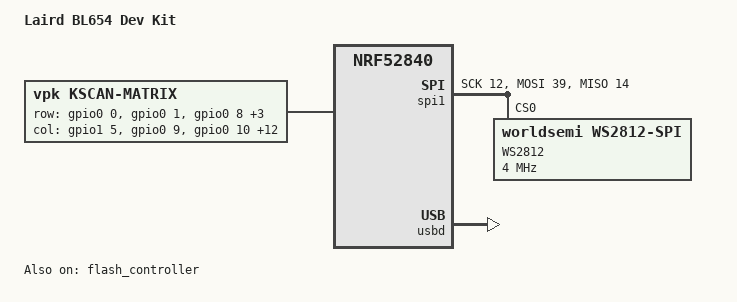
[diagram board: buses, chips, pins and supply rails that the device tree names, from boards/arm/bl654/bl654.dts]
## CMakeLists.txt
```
cmake_minimum_required(VERSION 3.20.0)

list(APPEND BOARD_ROOT ${CMAKE_SOURCE_DIR})
list(APPEND DTS_ROOT ${CMAKE_SOURCE_DIR}/drivers/zephyr)
list(APPEND ZEPHYR_EXTRA_MODULES ${CMAKE_CURRENT_SOURCE_DIR}/drivers)

find_package(Zephyr REQUIRED HINTS $ENV{ZEPHYR_BASE})
project(vpk)

SET(CMAKE_CXX_FLAGS  "${CMAKE_CXX_FLAGS} -fno-threadsafe-statics")
# FILE(GLOB app_sources src/*.cpp)
# target_sources(app PRIVATE ${app_sources})
target_sources(app PRIVATE src/main.cpp src/keyboard.cpp src/usb_hid.cpp src/led.cpp src/bat.cpp src/bluetooth/bluetooth.cpp src/bluetooth/hog.cpp)
```

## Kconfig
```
#
# Copyright (c) 2018 Nordic Semiconductor
#
# SPDX-License-Identifier: LicenseRef-Nordic-5-Clause
#

source "Kconfig.zephyr"

menu "Vampunzels Keyboard"

rsource "drivers/Kconfig"

endmenu
```

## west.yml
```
manifest:
  remotes:
    - name: zephyrproject-rtos
      url-base: https://github.com/zephyrproject-rtos
  projects:
    - name: zephyr
      remote: zephyrproject-rtos
      revision: v3.1.0
      import: true
  self:
    path: keyboard
```

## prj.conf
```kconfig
# Misc
CONFIG_CPLUSPLUS=y
CONFIG_STD_CPP17=y
CONFIG_NEWLIB_LIBC=y
CONFIG_LIB_CPLUSPLUS=y

CONFIG_GPIO=y
CONFIG_REBOOT=y

# Logging
CONFIG_LOG=y
#CONFIG_SERIAL=y
#CONFIG_UART_LINE_CTRL=y
#CONFIG_USB_CDC_ACM=y
#CONFIG_USB_CDC_ACM_LOG_LEVEL_ERR=y
#CONFIG_LOG_PROCESS_THREAD_STARTUP_DELAY_MS=1000
#CONFIG_CONSOLE=y
#CONFIG_UART_CONSOLE=y
CONFIG_USB_DRIVER_LOG_LEVEL_ERR=y
CONFIG_USB_DEVICE_LOG_LEVEL_ERR=y

# CONFIG_SIZE_OPTIMIZATIONS=y

# Keyboard Matrix Driver
CONFIG_KSCAN=y
CONFIG_VPK_KSCAN_MATRIX=y
CONFIG_VPK_KSCAN_MATRIX_PERIOD_US=500
CONFIG_VPK_KSCAN_MATRIX_DEBOUNCE_US=5000

# Enable Flash and NVS-settings
CONFIG_FLASH=y
CONFIG_FLASH_PAGE_LAYOUT=y
CONFIG_FLASH_MAP=y
CONFIG_NVS=y
CONFIG_SETTINGS=y

# Generic USB
CONFIG_USB_DEVICE_STACK=y
CONFIG_USB_DEVICE_PRODUCT="Vampunzels Keyboard"
CONFIG_USB_DEVICE_VID=0xFFFF
CONFIG_USB_DEVICE_PID=0x0001
CONFIG_USB_COMPOSITE_DEVICE=y
#CONFIG_USB_SELF_POWERED=n
#CONFIG_USB_MAX_POWER=250

# Power Management to reduce power
# CONFIG_PM=y
# CONFIG_PM_DEVICE=y

# USB DFU
CONFIG_USB_DFU_CLASS=y
CONFIG_USB_DFU_ENABLE_UPLOAD=y
CONFIG_IMG_MANAGER=y
CONFIG_BOOTLOADER_MCUBOOT=y
CONFIG_MCUBOOT_SIGNATURE_KEY_FILE="../mcuboot/mcubootKey.pem"
CONFIG_USB_DFU_REBOOT=y
CONFIG_USB_DFU_PERMANENT_DOWNLOAD=y

# USB HID
CONFIG_USB_DEVICE_HID=y
# CONFIG_USB_HID_BOOT_PROTOCOL=y

# BLE HID
CONFIG_SYSTEM_WORKQUEUE_STACK_SIZE=2048
CONFIG_BT=y
CONFIG_BT_DEBUG_LOG=y
CONFIG_BT_SMP=y
CONFIG_BT_PERIPHERAL=y
CONFIG_BT_DIS=y
CONFIG_BT_BAS=y
CONFIG_BT_DEVICE_NAME="Vampunzels Keyboard"
CONFIG_BT_DEVICE_APPEARANCE=961
CONFIG_BT_SETTINGS=y

CONFIG_SPI=y
CONFIG_LED_STRIP=y
CONFIG_WS2812_STRIP=y
CONFIG_WS2812_STRIP_SPI=y
```

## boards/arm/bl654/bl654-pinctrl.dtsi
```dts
/*
 * Copyright (c) 2022 Nordic Semiconductor
 * SPDX-License-Identifier: Apache-2.0
 */

&pinctrl {
	uart0_default: uart0_default {
		group1 {
			psels = <NRF_PSEL(UART_TX, 0, 6)>,
				<NRF_PSEL(UART_RX, 0, 8)>,
				<NRF_PSEL(UART_RTS, 0, 5)>,
				<NRF_PSEL(UART_CTS, 0, 7)>;
		};
	};

	uart0_sleep: uart0_sleep {
		group1 {
			psels = <NRF_PSEL(UART_TX, 0, 6)>,
				<NRF_PSEL(UART_RX, 0, 8)>,
				<NRF_PSEL(UART_RTS, 0, 5)>,
				<NRF_PSEL(UART_CTS, 0, 7)>;
			low-power-enable;
		};
	};

	i2c0_default: i2c0_default {
		group1 {
			psels = <NRF_PSEL(TWIM_SDA, 0, 26)>,
				<NRF_PSEL(TWIM_SCL, 0, 27)>;
		};
	};

	i2c0_sleep: i2c0_sleep {
		group1 {
			psels = <NRF_PSEL(TWIM_SDA, 0, 26)>,
				<NRF_PSEL(TWIM_SCL, 0, 27)>;
			low-power-enable;
		};
	};

	pwm0_default: pwm0_default {
		group1 {
			psels = <NRF_PSEL(PWM_OUT0, 0, 13)>;
		};
	};

	pwm0_sleep: pwm0_sleep {
		group1 {
			psels = <NRF_PSEL(PWM_OUT0, 0, 13)>;
			low-power-enable;
		};
	};

	spi0_default: spi0_default {
		group1 {
			psels = <NRF_PSEL(SPIM_SCK, 1, 9)>,
				<NRF_PSEL(SPIM_MOSI, 1, 8)>,
				<NRF_PSEL(SPIM_MISO, 0, 4)>;
		};
	};

	spi0_sleep: spi0_sleep {
		group1 {
			psels = <NRF_PSEL(SPIM_SCK, 1, 9)>,
				<NRF_PSEL(SPIM_MOSI, 1, 8)>,
				<NRF_PSEL(SPIM_MISO, 0, 4)>;
			low-power-enable;
		};
	};

	spi1_default: spi1_default {
		group1 {
			psels = <NRF_PSEL(SPIM_SCK, 0, 19)>,
				<NRF_PSEL(SPIM_MOSI, 1, 7)>,
				<NRF_PSEL(SPIM_MISO, 0, 21)>;
			bias-pull-up;
		};
	};

	spi1_sleep: spi1_sleep {
		group1 {
			psels = <NRF_PSEL(SPIM_SCK, 0, 19)>,
				<NRF_PSEL(SPIM_MOSI, 1, 7)>,
				<NRF_PSEL(SPIM_MISO, 0, 21)>;
			low-power-enable;
		};
	};

};
```

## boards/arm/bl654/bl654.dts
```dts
// Copyright (c) 2022 Nordic Semiconductor ASA
// SPDX-License-Identifier: Apache-2.0

/dts-v1/;
#include <nordic/nrf52840_qiaa.dtsi>
#include "bl654-pinctrl.dtsi"

#include <dt-bindings/led/led.h>
#define SPI_FREQ    4000000
#define ZERO_FRAME  0x40
#define ONE_FRAME   0x70

/ {
	model = "Laird BL654 Dev Kit";
	compatible = "nordic,pca10056-dk";

	chosen {
		vpk,kscan = &kscan0;
		zephyr,console = &cdc_acm_uart0;
		zephyr,sram = &sram0;
		zephyr,flash = &flash0;
		zephyr,code-partition = &slot0_partition;
	};

	kscan0: kscan {
		compatible = "vpk,kscan-matrix";
		label = "KSCAN";
		status = "okay";

		row-gpios =
			<&gpio0 0 0>,
			<&gpio0 1 0>,
			<&gpio0 8 0>,
			<&gpio0 6 0>,
			<&gpio0 30 0>,
			<&gpio1 6 0>;

		col-gpios =
			<&gpio1 5 0>,
			<&gpio0 9 0>,
			<&gpio0 10 0>,
			<&gpio1 15 0>,
			<&gpio1 14 0>,
			<&gpio0 3 0>,
			<&gpio0 5 0>,
			<&gpio0 7 0>,
			<&gpio0 11 0>,
			<&gpio0 16 0>,
			<&gpio1 3 0>,
			<&gpio0 25 0>,
			<&gpio1 1 0>,
			<&gpio1 2 0>,
			<&gpio1 4 0>;
	};

    chosen {
		vpk,kscan = &kscan0;
	};

	/* These aliases are provided for compatibility with samples */
	aliases {
		led-strip = &led_strip;
	};
};

&gpio0 {
	status = "okay";
};

&gpio1 {
	status = "okay";
};

&spi1 {
	compatible = "nordic,nrf-spim";
	status = "okay";
	sck-pin = <12>;
	mosi-pin = <39>; // 39 -> LED DIN
	miso-pin = <14>;

	led_strip: ws2812@0 {
		compatible = "worldsemi,ws2812-spi";
		label = "WS2812";

		/* SPI */
		reg = <0>; /* ignored, but necessary for SPI bindings */
		spi-max-frequency = <SPI_FREQ>;

		/* WS2812 */
		chain-length = <84>;
		color-mapping = <LED_COLOR_ID_GREEN
				 		LED_COLOR_ID_RED
				 		LED_COLOR_ID_BLUE>;
		spi-one-frame = <ONE_FRAME>;
		spi-zero-frame = <ZERO_FRAME>;
	};
};

&flash_controller {
	status = "okay";
};

&flash0 {	
	partitions {
		compatible = "fixed-partitions";
		#address-cells = <1>;
		#size-cells = <1>;

		boot_partition: partition@0 {
			label = "mcuboot";
			reg = <0x000000000 0x0000C000>;
		};
		slot0_partition: partition@c000 {
			label = "image-0";
			reg = <0x0000C000 0x00067000>;
		};
		slot1_partition: partition@73000 {
			label = "image-1";
			reg = <0x00073000 0x00067000>;
		};
		scratch_partition: partition@da000 {
			label = "image-scratch";
			reg = <0x000da000 0x0001e000>;
		};

		/*
		 * The flash starting at 0x000f8000 and ending at
		 * 0x000fffff is reserved for use by the application.
		 */

		/*
		 * Storage partition will be used by FCB/LittleFS/NVS
		 * if enabled.
		 */
		storage_partition: partition@f8000 {
			label = "storage";
			reg = <0x000f8000 0x00008000>;
		};
	};
};

zephyr_udc0: &usbd {
	compatible = "nordic,nrf-usbd";
	status = "okay";
	cdc_acm_uart0: cdc_acm_uart0 {
		compatible = "zephyr,cdc-acm-uart";
		label = "CDC_ACM_0";
	};
};
```

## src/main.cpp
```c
// Common includes
#include <zephyr/kernel.h>
#include <zephyr/drivers/gpio.h>
#include <zephyr/drivers/uart.h>
#include <zephyr/logging/log.h>
#include <zephyr/usb/usb_device.h>
#include <zephyr/bluetooth/gatt.h>
#include <zephyr/settings/settings.h>

#include <zephyr/sys/reboot.h>

#include "keyboard.h"
#include "usb_hid.h"
#include "bluetooth/hog.h"
#include "bluetooth/bluetooth.h"
#include "led.h"
#include "bat.h"
LOG_MODULE_REGISTER(vpk);

#ifdef INTELLISENSE
#define Z_FOR_LOOP_1(...) 0
#endif

constexpr int bat_led = 0;
constexpr int ble_led = 2;

bool require_passkey;
bool usb_connected;
bool do_ble_reports;
int passkey;
uint8_t passkey_pos;
k_work_delayable usb_timeout_work;

void usb_timeout_check(k_work *work) {
	if (!usb_connected) {
		vpk::bt::enable();
		vpk::led::flash_once(ble_led, vpk::led::BLUE);
	}
}

void handle_special_key(uint8_t key) {
	switch (key) {
	case vpk::hid::FNC_RESET:
		sys_reboot(SYS_REBOOT_WARM);
		break;
	case vpk::hid::FNC_BAT_STATUS:
	{
		vpk::bat::status_t status = vpk::bat::get_status();
		vpk::led::color_t color = (status == vpk::bat::NO_BATTERY) ? vpk::led::RED :
									((status == vpk::bat::NO_BATTERY) ? vpk::led::GREEN : vpk::led::YELLOW); 
		vpk::led::flash_once(bat_led, color);
		break;
	}
	case vpk::hid::FNC_BLE_ON:
		vpk::bt::enable();
		vpk::led::flash_once(ble_led, vpk::led::BLUE);
		break;
	case vpk::hid::FNC_BLE_OFF:
		vpk::bt::disable();
		vpk::led::flash_once(ble_led, vpk::led::RED);
		break;
	case vpk::hid::FNC_BLE_DIS:
		vpk::bt::drop_connections();
		vpk::led::flash_once(ble_led, vpk::led::RED, 3);
		break;
	case vpk::hid::FNC_LED_ON:
		vpk::led::enable();
		break;
	case vpk::hid::FNC_LED_OFF:
		vpk::led::disable();
		break;
	case vpk::hid::FNC_LED_TOG:
		vpk::led::toggle();
		break;
	default:
		LOG_ERR("Invalid special key");
		break;
	}
}

void kbd_callback(uint8_t key, bool pressed) {
	if (key < vpk::hid::FN) {
		if (usb_connected) {
			vpk::hid::create_report(key, pressed);
		}
		if (do_ble_reports) {
			vpk::bt::hog::create_report(key, pressed);
		} else if (require_passkey && pressed) {
			if (key >= vpk::hid::N1 && key <= vpk::hid::N0) {
				int value = (key >= vpk::hid::N0) ? 0 : (key - vpk::hid::N1 + 1);
				passkey = passkey * 10 + value;
				if (++passkey_pos >= 6) {
					vpk::bt::enter_passkey(passkey);
					require_passkey = false;
				}
			}
		}
	} else if (key == vpk::hid::FN) {
		if (usb_connected) {
			vpk::hid::clear_report();
		}
		if (do_ble_reports) {
			vpk::bt::hog::clear_report();
		}
	} else if (pressed) {
		handle_special_key(key);
	}
}

void usb_callback(usb_dc_status_code cb_status, const uint8_t *param) {
	if (cb_status == USB_DC_CONFIGURED) {
		do_ble_reports = false;
		vpk::bt::disable();
		vpk::led::flash_once(ble_led, vpk::led::RED);
		usb_connected = true;
	} else {
		usb_connected = false;
	}
}

void ble_callback(vpk::bt::status_t evt) {
	if (evt == vpk::bt::status_t::AWAITING_PASSKEY) {
		vpk::led::flash_once(ble_led, vpk::led::YELLOW, 3);
		require_passkey = true;
		passkey = 0;
		passkey_pos = 0;
	} else {
		require_passkey = false;
	}
	if (evt == vpk::bt::status_t::AUTHENTICATED) {
		do_ble_reports = true;
		vpk::led::flash_once(ble_led, vpk::led::GREEN);
	} else {
		do_ble_reports = false;
	}
}

int main() {
	int err;
	require_passkey = false;
	usb_connected = false;
	do_ble_reports = false;

	k_work_init_delayable(&usb_timeout_work, usb_timeout_check);

    const device *hid_dev = device_get_binding("HID_0");
	if (hid_dev == NULL) {
		LOG_ERR("Failed to get HID device");
		return -1;
	}

    const device *kscan_dev = device_get_binding("KSCAN");
	if (kscan_dev == NULL) {
		LOG_ERR("Failed to get KSCAN device");
		return -1;
	}
	
	err = vpk::bat::initialize();
	if (err) {
		LOG_ERR("Falied to init battery control");
		return -1;
	}

	err = vpk::led::initialize();
	if (err) {
		LOG_ERR("Falied to init LEDs");
		return -1;
	}

	err = vpk::bt::initialize(ble_callback);
	if (err) {
		LOG_ERR("Failed to initialize BLE");
	}

	err = vpk::hid::initialize(hid_dev);
	if (err) {
		LOG_ERR("Failed to initialize HID");
		return -1;
	}
	
	err = usb_enable(usb_callback);
	if (err != 0) {
		LOG_ERR("Failed to enable USB");
		return -1;
	}

	err = vpk::kbd::initialize(kscan_dev, kbd_callback);
	if (err != 0) {
		LOG_ERR("Failed to initialize keyboard matrix");
		return -1;
	}

	k_work_reschedule(&usb_timeout_work, K_SECONDS(5));
}
```

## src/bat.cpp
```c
#include "bat.h"
#include <zephyr/drivers/gpio.h>

namespace vpk::bat {
    constexpr const device *gpio0 = DEVICE_DT_GET(DT_NODELABEL(gpio0));
    constexpr gpio_dt_spec stdby_pin = {gpio0, 20};
    constexpr gpio_dt_spec chrg_pin = {gpio0, 22};
    constexpr gpio_dt_spec ilim_pin = {gpio0, 23};

    int initialize() {
        if (!device_is_ready(gpio0)) {
            return -1;
        }

        int err;
        err = gpio_pin_configure_dt(&stdby_pin, GPIO_INPUT | GPIO_PULL_UP);
        if (err) {
            return -1;
        }

        err = gpio_pin_configure_dt(&chrg_pin, GPIO_INPUT | GPIO_PULL_UP);
        if (err) {
            return -1;
        }

        err = gpio_pin_configure_dt(&ilim_pin, GPIO_OUTPUT_INACTIVE | GPIO_PUSH_PULL);
        if (err) {
            return -1;
        }
        return 0;
    }

    status_t get_status() {
        int stdby = !gpio_pin_get_dt(&stdby_pin);
        int chrg = !gpio_pin_get_dt(&chrg_pin);

        if (stdby && !chrg) {
            return FULL;
        } else if (!stdby && chrg) {
            return CHARGING;
        }
        return NO_BATTERY;
    }

    int set_fastcharge(bool enable) {
        int err;
        err = gpio_pin_set_dt(&ilim_pin, enable);
        if (err) {
            return -1;
        }
        return 0;
    }
}
```

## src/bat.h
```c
#pragma once

namespace vpk::bat {
    enum status_t {
        NO_BATTERY,
        CHARGING,
        FULL
    };

    // Initialize bat driver
    int initialize();
    status_t get_status();
    int set_fastcharge(bool enable);
}
```

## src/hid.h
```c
#pragma once

#include <array>
#include <zephyr/usb/class/usb_hid.h>

namespace vpk::hid {
    enum report_type_t {
        INPUT_REPORT = 1,
        CONSUMER_REPORT = 2
    };

    constexpr size_t input_report_size = 16;
    constexpr size_t consumer_report_size = 2;
    
	constexpr uint8_t report_descriptor[] = {				
		HID_USAGE_PAGE(HID_USAGE_GEN_DESKTOP),			
		HID_USAGE(HID_USAGE_GEN_DESKTOP_KEYBOARD),		
		HID_COLLECTION(HID_COLLECTION_APPLICATION),
            HID_REPORT_ID((uint8_t)INPUT_REPORT),
			/* 1 Byte for Control Keys */	
			HID_USAGE_PAGE(HID_USAGE_GEN_DESKTOP_KEYPAD),	
			HID_USAGE_MIN8(0xE0),	/* HID_USAGE_MINIMUM(Keyboard LeftControl) */			
			HID_USAGE_MAX8(0xE7),	/* HID_USAGE_MAXIMUM(Keyboard Right GUI) */			
			HID_LOGICAL_MIN8(0),				
			HID_LOGICAL_MAX8(1),				
			HID_REPORT_SIZE(1),				
			HID_REPORT_COUNT(8),				
			HID_INPUT(0x02),	/* HID_INPUT(Data,Var,Abs) */			
            /* 16 Bytes for Normal Keys */
			HID_USAGE_PAGE(HID_USAGE_GEN_DESKTOP_KEYPAD),	
			HID_USAGE_MIN8(0),	
			HID_USAGE_MAX8((input_report_size - 2) * 8 - 1),	
			HID_LOGICAL_MIN8(0),				
			HID_LOGICAL_MAX8(1),				
			HID_REPORT_SIZE(1),				
			HID_REPORT_COUNT((input_report_size - 2) * 8),				
			HID_INPUT(0x02),	/* HID_INPUT (Data,Var,Abs) */			
		HID_END_COLLECTION,
        /* Media key report */
        HID_USAGE_PAGE(0x0c),   /* usage consumer devices */
        HID_USAGE(0x01),        /* usage consumer control */
        HID_COLLECTION(HID_COLLECTION_APPLICATION),
            HID_REPORT_ID((uint8_t)CONSUMER_REPORT),
            HID_USAGE(0xb5),    /* scan next track */
            HID_USAGE(0xb6),    /* scan prev track*/
            HID_USAGE(0xb7),    /* stop */
            HID_USAGE(0xcd),    /* play/pause */
            HID_USAGE(0xe9),    /* volume up */
            HID_USAGE(0xea),    /* volume down */
            HID_USAGE(0xe2),    /* mute */
            HID_LOGICAL_MIN8(0),
            HID_LOGICAL_MAX8(1),
            HID_REPORT_SIZE(1),
            HID_REPORT_COUNT(7),
            HID_INPUT(0x02),    /* HID_INPUT(Data,Var,Abs) */
            HID_REPORT_COUNT(1),
            HID_INPUT(0x01),    /* HID_INPUT(Cnst,Arr,Abs) */
        HID_END_COLLECTION
	};

    enum keycode {
        // Normal Keys
        NONE        = 0,
        ERR_OVF     = 1, // overflow (too many keys pressed)
        ERR_POST    = 2, // keyboard POST fail
        ERR_UNKNOWN = 3, // unknown keyboard error
        A		    = 4,
        B		    = 5,
        C		    = 6,
        D		    = 7,
        E		    = 8,
        F		    = 9,
        G		    = 10,
        H		    = 11,
        I		    = 12,
        J		    = 13,
        K		    = 14,
        L		    = 15,
        M		    = 16,
        N		    = 17,
        O		    = 18,
        P		    = 19,
        Q		    = 20,
        R		    = 21,
        S		    = 22,
        T		    = 23,
        U		    = 24,
        V		    = 25,
        W		    = 26,
        X		    = 27,
        Y		    = 28,
        Z		    = 29,
        N1		    = 30,
        N2		    = 31,
        N3		    = 32,
        N4		    = 33,
        N5		    = 34,
        N6		    = 35,
        N7		    = 36,
        N8		    = 37,
        N9		    = 38,
        N0		    = 39,
        ENTER		= 40,
        ESC		    = 41,
        BACKSPACE	= 42,
        TAB		    = 43,
        SPACE		= 44,
        MINUS		= 45,
        EQUAL		= 46,
        LEFTBRACE	= 47,
        RIGHTBRACE	= 48,
        BACKSLASH	= 49,
        HASH		= 50, /* Non-US # and ~ */
        SEMICOLON	= 51,
        APOSTROPHE	= 52,
        GRAVE		= 53,
        COMMA		= 54,
        DOT		    = 55,
        SLASH		= 56,
        CAPSLOCK	= 57,
        F1		    = 58,
        F2		    = 59,
        F3		    = 60,
        F4		    = 61,
        F5		    = 62,
        F6		    = 63,
        F7		    = 64,
        F8		    = 65,
        F9		    = 66,
        F10		    = 67,
        F11		    = 68,
        F12		    = 69,
        SYSRQ		= 70, /* PRINTSCREEN */
        SCROLLLOCK	= 71,
        PAUSE		= 72,
        INSERT		= 73,
        HOME		= 74,
        PAGEUP		= 75,
        DELETE		= 76,
        END		    = 77,
        PAGEDOWN	= 78,
        RIGHT		= 79,
        LEFT		= 80,
        DOWN		= 81,
        UP		    = 82,
        NUMLOCK		= 83,
        KPSLASH		= 84, /* NUMPAD DIVIDE */
        KPASTERISK	= 85, /* NUMPAD MULTIPLY */
        KPMINUS		= 86,
        KPPLUS		= 87,
        KPENTER		= 88,
        KP_1		= 89,
        KP_2		= 90,
        KP_3		= 91,
        KP_4		= 92,
        KP_5		= 93,
        KP_6		= 94,
        KP_7		= 95,
        KP_8		= 96,
        KP_9		= 97,
        KP_0		= 98,
        KP_DOT      = 99,
        VBAR        = 100, // Keyboard Non-US \ and |
        COMPOSE     = 101,
        POWER       = 102,
        KP_EQUAL    = 103,
        F13         = 104,
        F14         = 105,
        F15         = 106,
        F16         = 107,
        F17         = 108,
        F18         = 109,
        F19         = 110,
        F20         = 111,

        // Media Keys
        MEDIA_SKIP,
        MEDIA_PREV,
        MEDIA_STOP,
        MEDIA_PLAY,
        MEDIA_VUP,
        MEDIA_VDOWN,
        MEDIA_MUTE,

        // Modifiers
        LCTRL      = 0xe0,
        LSHIFT      = 0xe1,
        LALT        = 0xe2,
        LMETA       = 0xe3,
        RCTRL       = 0xe4,
        RSHIFT      = 0xe5,
        RALT        = 0xe6,
        RMETA       = 0xe7,

        // FN KEY
        FN,

        // Special Keys
        FNC_RESET = 247,    // Reset MCU
        FNC_BAT_STATUS,     // Indicate battery status
        FNC_LED_ON,         // Turn on leds
        FNC_LED_OFF,        // Turn off leds
        FNC_LED_TOG,        // Toggle leds on/off
        FNC_BLE_ON,         // Turn on bluetooth
        FNC_BLE_OFF,        // Turn off bluetooth
        FNC_BLE_DIS,        // Drop current connection
    };

    constexpr std::array<uint8_t, 84> keymap_qwerty = { 
            ESC, F1, F2, F3, F4, F5, F6, F7, F8, F9, F10, F11, F12, SYSRQ, SCROLLLOCK, PAUSE,
            GRAVE, N1, N2, N3, N4, N5, N6, N7, N8, N9, N0, MINUS, EQUAL, BACKSPACE, INSERT,
            TAB, Q, W, E, R, T, Y, U, I, O, P, LEFTBRACE, RIGHTBRACE, BACKSLASH, DELETE,
            CAPSLOCK, A, S, D, F, G, H, J, K, L, SEMICOLON, APOSTROPHE, ENTER, PAGEUP,
            LSHIFT, Z, X, C, V, B, N, M, COMMA, DOT, SLASH, RSHIFT, UP, PAGEDOWN,
            LCTRL, LMETA, LALT, SPACE, RALT, RMETA, FN, LEFT, DOWN, RIGHT};

    constexpr std::array<uint8_t, 84> keymap_fn = { 
        FNC_BAT_STATUS, NONE, FNC_BLE_ON, FNC_BLE_OFF, FNC_BLE_DIS, NONE, NONE, NONE, NONE, NONE, NONE, NONE, NONE, NONE, NONE, FNC_LED_TOG,
        NONE, NONE, NONE, NONE, NONE, NONE, NONE, NONE, NONE, NONE, NONE, NONE, NONE, MEDIA_STOP, NONE,
        NONE, NONE, NONE, NONE, NONE, NONE, NONE, NONE, NONE, NONE, NONE, NONE, NONE, NONE, NONE,
        NONE, NONE, NONE, NONE, NONE, NONE, NONE, NONE, NONE, NONE, NONE, NONE, MEDIA_PLAY, HOME,
        NONE, NONE, NONE, NONE, NONE, NONE, NONE, NONE, NONE, NONE, NONE, MEDIA_MUTE, MEDIA_VUP, END,
        NONE, NONE, NONE, NONE, NONE, NONE, FN, MEDIA_PREV, MEDIA_VDOWN, MEDIA_SKIP};
};
```

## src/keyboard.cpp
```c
#include <zephyr/drivers/kscan.h>
#include <zephyr/logging/log.h>

#include "keyboard.h"

LOG_MODULE_DECLARE(vpk, CONFIG_LOG_DEFAULT_LEVEL);

namespace vpk::kbd {
    struct event_t {
        uint8_t key;
        bool pressed;
    };

    K_MSGQ_DEFINE(event_queue, sizeof(event_t), 8, 4);
    k_work work;

	key_changed_callback_t callback;
	keymap_t keymap;
    keymap_t keymap_fn;
    keymap_t *active_keymap;
    
    void kscan_callback(const device *dev, uint32_t row, uint32_t col, bool pressed) {
        event_t evt;
        evt.key = (*active_keymap)[matrix_idx(row, col)];
        evt.pressed = pressed;
        k_msgq_put(&event_queue, &evt, K_NO_WAIT);
        k_work_submit(&work);
    }

    void process_keys(k_work *work) {
        event_t evt;
        while (k_msgq_get(&event_queue, &evt, K_NO_WAIT) == 0) {
            if (evt.key == vpk::hid::FN) {
                active_keymap = evt.pressed ? &keymap_fn : &keymap;
            }
            callback(evt.key, evt.pressed);
        }
    }

    int matrix_idx(uint32_t row, uint32_t col) {
        return row * matrix_width + col;
    }

    int initialize(const device *dev, key_changed_callback_t new_callback) {
        int err;
        err = kscan_config(dev, kscan_callback);
        if (err) {
            LOG_ERR("Could not configure KSCAN matrix");
            return -1;
        }
        k_work_init(&work, process_keys);

        load_keymap(hid::keymap_qwerty);
        load_keymap(hid::keymap_fn, true);
        active_keymap = &keymap;
        callback = new_callback;
        kscan_enable_callback(dev);
        return 0;
    }
    
    void load_keymap(const keymap_raw_t &new_keymap, bool fn_map) {
        auto it = fn_map ? keymap_fn.begin() : keymap.begin();
        auto inIt = new_keymap.begin();

        it = std::copy(inIt, inIt + 15, it);
        it = std::copy(inIt + 16, inIt + 30, it);
        *(it++) = new_keymap[15];
        it = std::copy(inIt + 31, inIt + 45, it);
        *(it++) = new_keymap[30];
        it = std::copy(inIt + 46, inIt + 60, it);
        *(it++) = new_keymap[45];
        it = std::copy(inIt + 60, inIt + 74, it);
        *(it++) = 0;
        it = std::copy(inIt + 74, inIt + 77, it);
        *(it++) = 0;
        *(it++) = 0;
        *(it++) = *(inIt + 77);
        *(it++) = 0;
        *(it++) = 0;
        it = std::copy(inIt + 78, inIt + 84, it);
        *it = 0;
    }
};
```

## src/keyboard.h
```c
#pragma once
#include <zephyr/usb/class/usb_hid.h>
#include <array>

#include "hid.h"

namespace vpk::kbd {
	constexpr static size_t matrix_width = 15;
	constexpr static size_t matrix_height = 6;
	constexpr static size_t key_count = 84;

	using key_changed_callback_t = void(*)(uint8_t key, bool pressed);
	using keymap_t = std::array<uint8_t, matrix_width * matrix_height>;
	using keymap_raw_t = std::array<uint8_t, key_count>;

	int matrix_idx(uint32_t row, uint32_t col);
	int initialize(const device *dev, key_changed_callback_t new_callback);
	void load_keymap(const keymap_raw_t &new_keymap, bool fn_map = false);
};
```

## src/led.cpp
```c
#include <zephyr/drivers/led_strip.h>
#include <zephyr/logging/log.h>

#include "led.h"

LOG_MODULE_DECLARE(vpk, CONFIG_LOG_DEFAULT_LEVEL);

namespace vpk::led {
    #define STRIP_NUM_PIXELS	DT_PROP(DT_ALIAS(led_strip), chain_length)
    #define STRIP_NODE		DT_ALIAS(led_strip)
    constexpr led_rgb colors[] = {
        {0, 159, 0, 0},
        {0, 0, 159, 0},
        {0, 0, 0, 159},
        {0, 79, 80, 0},
        {0, 53, 53, 53}
    };

    const device *dev = DEVICE_DT_GET(STRIP_NODE);
    led_rgb pixels[STRIP_NUM_PIXELS];
    bool enabled;
    k_work_delayable flash_work;

    inline int update() {
        int err;
        err = led_strip_update_rgb(dev, pixels, STRIP_NUM_PIXELS);
		if (err) {
			LOG_ERR("Error updating led strip: %d", err);
            return -1;
		}
        return 0;
    }

    void flash_work_handler(k_work *work) {
        update();
    }

    int initialize() {
        enabled = false;

        k_work_init_delayable(&flash_work, flash_work_handler);

        if (!device_is_ready(dev)) {
            LOG_ERR("LED strip device %s is not ready", dev->name);
            return -1;
        }
        return 0;
    }

    int enable() {
        if (enabled) {
            return 0;
        }
        enabled = true;
		memset(&pixels, 0x53, sizeof(pixels));
        return update();
    }

    int disable() {
        if (!enabled) {
            return 0;
        }
        enabled = false;
        memset(&pixels, 0x00, sizeof(pixels));
        return update();
    }

    int toggle() {
        return enabled ? disable() : enable();
    }

    int flash_once(int led_id, color_t color, uint8_t pulse_s) {
        int err;
        led_rgb tmp = pixels[led_id];
        pixels[led_id] = colors[(int)color];
        err = update();
        if (err) {
            return -1;
        }
        pixels[led_id] = tmp;
        err = k_work_reschedule(&flash_work, K_SECONDS(pulse_s));
        if (err < 0) {
            return -1;
        }
        return 0;
    }
};
```

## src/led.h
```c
#pragma once

namespace vpk::led {
    enum color_t {
        RED = 0,
        GREEN = 1,
        BLUE = 2,
        YELLOW = 3,
        WHITE = 4
    };

    // Initialize led driver and load pattern from flash
    int initialize();

    int enable();
    int disable();
    int toggle();
    int flash_once(int led_id, color_t color, uint8_t pulse_s = 1);
}
```

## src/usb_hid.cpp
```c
#include <cstring>
#include <stdint.h>

#include "usb_hid.h"
#include "hid.h"
#include "bluetooth/hog.h"

namespace vpk::hid {
    uint8_t input_report[input_report_size];
    uint8_t consumer_report[2];
    const device *usb_hid_dev;

    atomic_t int_in_ready = ATOMIC_INIT(1);

    void int_in_ready_cb(const struct device *dev) {
        ARG_UNUSED(dev);
        atomic_set_bit(&int_in_ready, 0);
    }

    const hid_ops ops = {
        .int_in_ready = int_in_ready_cb
    };

    struct event_t {
        uint8_t key;
        bool pressed;
    };

    K_MSGQ_DEFINE(event_queue, sizeof(event_t), 8, 4);
    k_work_delayable work;
    constexpr int int_in_sleep_ms = 1;

    report_type_t generate_report(uint8_t key, bool pressed) {
        if (key >= hid::MEDIA_SKIP && key <= hid::MEDIA_MUTE) {
            if (pressed) {
                consumer_report[1] |= 0x1 << (key - hid::MEDIA_SKIP);
            } else {
                consumer_report[1] &= ~(0x1 << (key - hid::MEDIA_SKIP));
            }
            return CONSUMER_REPORT;
        }

        if (key >= hid::LCTRL) {
            if (pressed) {
                input_report[1] |= 0x1 << (key - hid::LCTRL);
            } else {
                input_report[1] &= ~(0x1 << (key - hid::LCTRL));
            }
        } else {
            if (pressed) {
                input_report[2 + (key >> 3)] |= 0x1 << (key & 0x7);
            } else {
                input_report[2 + (key >> 3)] &= ~(0x1 << (key & 0x7));
            }
        }
        return INPUT_REPORT;
    }

    void event_handler(k_work *_) {
        if (!atomic_test_and_clear_bit(&int_in_ready, 0)) {
            k_work_reschedule(&work, K_MSEC(int_in_sleep_ms));
            return;
        }

        event_t evt;
        if (k_msgq_get(&event_queue, &evt, K_NO_WAIT) != 0) {
            // No event left in queue
            return;
        }

        report_type_t type = generate_report(evt.key, evt.pressed);
        if (type == INPUT_REPORT) {
            hid_int_ep_write(usb_hid_dev, input_report, input_report_size, NULL);
        } else {
            hid_int_ep_write(usb_hid_dev, consumer_report, consumer_report_size, NULL);
        }

        // Might need to handle more events
        if (k_msgq_num_used_get(&event_queue) > 0) {
            k_work_reschedule(&work, K_MSEC(int_in_sleep_ms));
        }
    }

    int initialize(const device *dev) {
        int err;
        usb_hid_register_device(dev, report_descriptor, sizeof(report_descriptor), &ops);
        err = usb_hid_init(dev);
        if (err) {
            return -1;
        }
        usb_hid_dev = dev;
        k_work_init_delayable(&work, event_handler);

        memset(input_report, 0, sizeof(input_report));
        input_report[0] = INPUT_REPORT;
        memset(consumer_report, 0, sizeof(consumer_report));
        consumer_report[0] = CONSUMER_REPORT;

        return 0;
    }

    int create_report(uint8_t key, bool pressed) {
        event_t evt = { key, pressed };
        // Discard oldest event if queue is full
        if (k_msgq_num_free_get(&event_queue) <= 0) {
            event_t discard;
            k_msgq_get(&event_queue, &discard, K_NO_WAIT);
        }
        // Put new event in queue
        if (k_msgq_put(&event_queue, &evt, K_NO_WAIT) != 0) {
            return -1;
        }

        k_work_reschedule(&work, K_NO_WAIT);
        return 0;
    }

    int clear_report() {
        memset(input_report, 0, sizeof(input_report));
        input_report[0] = INPUT_REPORT;
        memset(consumer_report, 0, sizeof(consumer_report));
        consumer_report[0] = CONSUMER_REPORT;

        // Force both reports
        create_report(hid::A, false);
        create_report(hid::MEDIA_SKIP, false);
        return 0;
    }
};
```

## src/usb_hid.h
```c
#pragma once

#include <stdint.h>
#include <zephyr/device.h>

#include "hid.h"

namespace vpk::hid {
    using hid_callback_t = void(*)(int report_id, uint8_t *data, int len);

    int initialize(const device *dev);
    int create_report(uint8_t key, bool pressed);
    int clear_report();
};
```
